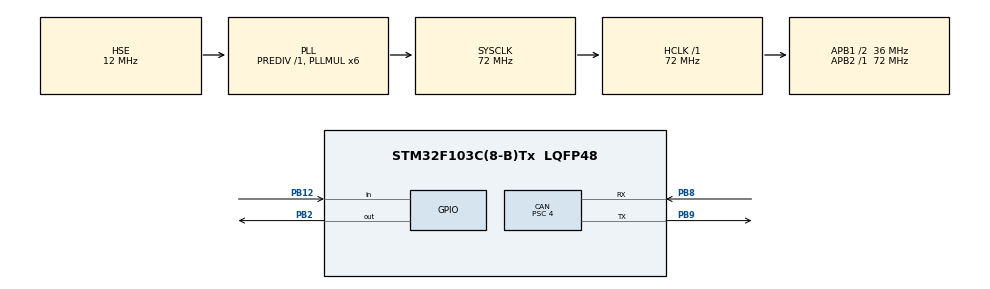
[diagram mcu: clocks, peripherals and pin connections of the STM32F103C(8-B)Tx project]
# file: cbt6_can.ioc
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CAN.AWUM=ENABLE
CAN.BS1=CAN_BS1_5TQ
CAN.BS2=CAN_BS2_3TQ
CAN.CalculateBaudRate=1000000
CAN.CalculateTimeBit=1000
CAN.CalculateTimeQuantum=111.11111111111111
CAN.Prescaler=4
Mcu.Family=STM32F1
Mcu.Name=STM32F103C(8-B)Tx
Mcu.Package=LQFP48
NVIC.CAN1_RX1_IRQn=true\:3\:0\:true\:false\:true\:true\:true\:true
NVIC.CAN1_SCE_IRQn=true\:3\:0\:true\:false\:true\:true\:true\:true
NVIC.PriorityGroup=NVIC_PRIORITYGROUP_4
NVIC.USB_HP_CAN1_TX_IRQn=true\:3\:0\:true\:false\:true\:true\:true\:true
NVIC.USB_LP_CAN1_RX0_IRQn=true\:3\:0\:true\:false\:true\:true\:true\:true
PA13.Mode=Serial_Wire
PA13.Signal=SYS_JTMS-SWDIO
PA14.Mode=Serial_Wire
PA14.Signal=SYS_JTCK-SWCLK
PB12.Signal=GPIO_Input
PB2.PinState=GPIO_PIN_SET
PB2.Signal=GPIO_Output
PB8.Mode=CAN_Activate
PB8.Signal=CAN_RX
PB9.Mode=CAN_Activate
PB9.Signal=CAN_TX
PD0-OSC_IN.Mode=HSE-External-Oscillator
PD0-OSC_IN.Signal=RCC_OSC_IN
PD1-OSC_OUT.Mode=HSE-External-Oscillator
PD1-OSC_OUT.Signal=RCC_OSC_OUT
ProjectManager.HeapSize=0x200
ProjectManager.StackSize=0x400
ProjectManager.TargetToolchain=MDK-ARM V5.32
RCC.AHBFreq_Value=72000000
RCC.APB1CLKDivider=RCC_HCLK_DIV2
RCC.APB1Freq_Value=36000000
RCC.APB1TimFreq_Value=72000000
RCC.APB2Freq_Value=72000000
RCC.APB2TimFreq_Value=72000000
RCC.HCLKFreq_Value=72000000
RCC.HSE_VALUE=12000000
RCC.PLLMUL=RCC_PLL_MUL6
RCC.PLLSourceVirtual=RCC_PLLSOURCE_HSE
RCC.SYSCLKFreq_VALUE=72000000
RCC.SYSCLKSource=RCC_SYSCLKSOURCE_PLLCLK
RCC.USBFreq_Value=72000000
board=custom

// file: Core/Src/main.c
/* USER CODE BEGIN Header */
/**
 ******************************************************************************
 * @file           : main.c
 * @brief          : Main program body
 ******************************************************************************
 * @attention
 *
 * Copyright (c) 2023 STMicroelectronics.
 * All rights reserved.
 *
 * This software is licensed under terms that can be found in the LICENSE file
 * in the root directory of this software component.
 * If no LICENSE file comes with this software, it is provided AS-IS.
 *
 ******************************************************************************
 */
/* USER CODE END Header */
#include "main.h"
#include "can.h"
#include "gpio.h"

/* USER CODE BEGIN PV */
#define send_flag 0

CAN_TxHeaderTypeDef TxHeader;
CAN_RxHeaderTypeDef RxHeader;
uint8_t TxData[8];
uint8_t RxData[8];
uint32_t TxMailbox;

uint8_t sendBuf = 0x3;
/* USER CODE END PV */

void SystemClock_Config(void);

int main(void)
{

  /* MCU Configuration--------------------------------------------------------*/

  /* Reset of all peripherals, Initializes the Flash interface and the Systick. */
  HAL_Init();

  /* Configure the system clock */
  SystemClock_Config();

  /* Initialize all configured peripherals */
  MX_GPIO_Init();
  MX_CAN_Init();
  /* USER CODE BEGIN 2 */
  CAN_FilterTypeDef sFilterConfig;
  // filter one (stack light blink)
  sFilterConfig.FilterBank = 0;
  sFilterConfig.FilterMode = CAN_FILTERMODE_IDMASK;
  sFilterConfig.FilterScale = CAN_FILTERSCALE_32BIT;
  sFilterConfig.FilterIdHigh = 0x0000;
  sFilterConfig.FilterIdLow = 0x0000;
  sFilterConfig.FilterMaskIdHigh = 0x0000;
  sFilterConfig.FilterMaskIdLow = 0x0000;
  sFilterConfig.FilterFIFOAssignment = CAN_FILTER_FIFO0;
  sFilterConfig.FilterActivation = ENABLE;
  sFilterConfig.SlaveStartFilterBank = 14;
  if (HAL_CAN_ConfigFilter(&hcan, &sFilterConfig) != HAL_OK)
  {
    /* Filter configuration Error */
    Error_Handler();
  }

  HAL_CAN_Start(&hcan); // start CAN

  HAL_CAN_ActivateNotification(&hcan, CAN_IT_RX_FIFO0_MSG_PENDING);

  /* Configure Transmission process */
  TxHeader.StdId = 1;
  TxHeader.ExtId = 0x00;
  TxHeader.RTR = CAN_RTR_DATA;
  TxHeader.IDE = CAN_ID_STD;
  TxHeader.DLC = 8;
  TxHeader.TransmitGlobalTime = DISABLE;

  /* USER CODE END 2 */

  /* Infinite loop */
  while (1)
  {
#if send_flag == 1
// HAL_CAN_AddTxMessage(&hcan, &TxHeader, &sendBuf, &TxMailbox);
#endif
    HAL_Delay(1000);
  }
}

void SystemClock_Config(void)
{
  RCC_OscInitTypeDef RCC_OscInitStruct = {0};
  RCC_ClkInitTypeDef RCC_ClkInitStruct = {0};

  /** Initializes the RCC Oscillators according to the specified parameters
   * in the RCC_OscInitTypeDef structure.
   */
  RCC_OscInitStruct.OscillatorType = RCC_OSCILLATORTYPE_HSE;
  RCC_OscInitStruct.HSEState = RCC_HSE_ON;
  RCC_OscInitStruct.HSEPredivValue = RCC_HSE_PREDIV_DIV1;
  RCC_OscInitStruct.HSIState = RCC_HSI_ON;
  RCC_OscInitStruct.PLL.PLLState = RCC_PLL_ON;
  RCC_OscInitStruct.PLL.PLLSource = RCC_PLLSOURCE_HSE;
  RCC_OscInitStruct.PLL.PLLMUL = RCC_PLL_MUL6;
  if (HAL_RCC_OscConfig(&RCC_OscInitStruct) != HAL_OK)
  {
    Error_Handler();
  }

  /** Initializes the CPU, AHB and APB buses clocks
   */
  RCC_ClkInitStruct.ClockType = RCC_CLOCKTYPE_HCLK | RCC_CLOCKTYPE_SYSCLK | RCC_CLOCKTYPE_PCLK1 | RCC_CLOCKTYPE_PCLK2;
  RCC_ClkInitStruct.SYSCLKSource = RCC_SYSCLKSOURCE_PLLCLK;
  RCC_ClkInitStruct.AHBCLKDivider = RCC_SYSCLK_DIV1;
  RCC_ClkInitStruct.APB1CLKDivider = RCC_HCLK_DIV2;
  RCC_ClkInitStruct.APB2CLKDivider = RCC_HCLK_DIV1;

  if (HAL_RCC_ClockConfig(&RCC_ClkInitStruct, FLASH_LATENCY_2) != HAL_OK)
  {
    Error_Handler();
  }
}

/* USER CODE BEGIN 4 */
void CAN_Send(CAN_TxHeaderTypeDef *pHeader, uint8_t *data)
{
  if (HAL_CAN_AddTxMessage(&hcan, pHeader, data, &TxMailbox) != HAL_OK)
  {
    Error_Handler();
  }
}

void HAL_CAN_RxFifo0MsgPendingCallback(CAN_HandleTypeDef *CanHandle)
{
  /* Get RX message */
  if (HAL_CAN_GetRxMessage(CanHandle, CAN_RX_FIFO0, &RxHeader, RxData) != HAL_OK)
  {
    /* Reception Error */
    Error_Handler();
  }
#if send_flag == 0
  if (RxData[0] == 0x3)
  {
    HAL_GPIO_TogglePin(GPIOB, GPIO_PIN_2);
  }
#endif
  // uint8_t id = (RxHeader.StdId >> 7); // 4Bits ID & 7Bits Msg
  // uint8_t cmd = RxHeader.StdId & 0x7F; // 4Bits ID & 7Bits Msg
  // if (id == 0 || id == 1)
  // {
  //     OnCanCmd(cmd, RxData, RxHeader.DLC);
  // }
}

void OnCanCmd(uint8_t _cmd, uint8_t *_data, uint32_t _len)
{
  float tmpF;
  int32_t tmpI;

  switch (_cmd)
  {
  // 0x00~0x0F No Memory CMDs
  case 0x01: // Enable Motor
    break;
  default:
    break;
  }
}

/* USER CODE END 4 */

void Error_Handler(void)
{
  __disable_irq();
  while (1)
  {
  }
}
